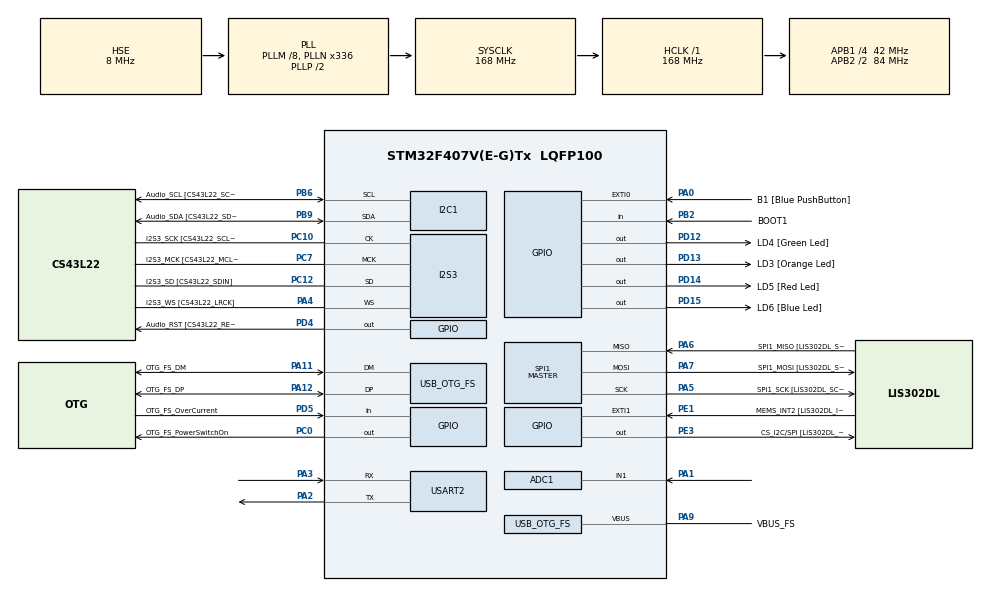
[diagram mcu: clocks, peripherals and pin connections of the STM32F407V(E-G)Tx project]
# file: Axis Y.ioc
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ADC1.Channel-0\#ChannelRegularConversion=ADC_CHANNEL_1
ADC1.NbrOfConversionFlag=1
ADC1.Rank-0\#ChannelRegularConversion=1
ADC1.SamplingTime-0\#ChannelRegularConversion=ADC_SAMPLETIME_3CYCLES
ADC1.master=1
I2S3.AudioFreq-Half_Duplex_Master=I2S_AUDIOFREQ_96K
I2S3.ErrorAudioFreq=-2.34 %
I2S3.ErrorAudioFreq-Half_Duplex_Master=0.8 %
I2S3.FullDuplexMode=I2S_FULLDUPLEXMODE_DISABLE
I2S3.Instance=SPI$Index
I2S3.RealAudioFreq=93.75 KHz
I2S3.RealAudioFreq-Half_Duplex_Master=96.774 KHz
I2S3.VirtualMode=I2S_MODE_MASTER
Mcu.Family=STM32F4
Mcu.Name=STM32F407V(E-G)Tx
Mcu.Package=LQFP100
NVIC.OTG_FS_IRQn=true\:0\:0\:false\:false\:true\:true\:true\:true
NVIC.PriorityGroup=NVIC_PRIORITYGROUP_0
PA0-WKUP.GPIO_Label=B1 [Blue PushButton]
PA0-WKUP.GPIO_ModeDefaultEXTI=GPIO_MODE_EVT_RISING
PA0-WKUP.GPIO_PuPd=GPIO_NOPULL
PA0-WKUP.Signal=GPXTI0
PA1.Signal=ADCx_IN1
PA10.GPIO_Label=OTG_FS_ID
PA10.GPIO_Mode=GPIO_MODE_AF_PP
PA10.GPIO_PuPd=GPIO_NOPULL
PA10.GPIO_Speed=GPIO_SPEED_FREQ_LOW
PA10.Signal=USB_OTG_FS_ID
PA11.GPIO_Label=OTG_FS_DM
PA11.GPIO_Mode=GPIO_MODE_AF_PP
PA11.GPIO_PuPd=GPIO_NOPULL
PA11.GPIO_Speed=GPIO_SPEED_FREQ_LOW
PA11.Mode=Host_Only
PA11.Signal=USB_OTG_FS_DM
PA12.GPIO_Label=OTG_FS_DP
PA12.GPIO_Mode=GPIO_MODE_AF_PP
PA12.GPIO_PuPd=GPIO_NOPULL
PA12.GPIO_Speed=GPIO_SPEED_FREQ_LOW
PA12.Mode=Host_Only
PA12.Signal=USB_OTG_FS_DP
PA13.GPIO_Label=SWDIO
PA13.Mode=Serial_Wire
PA13.Signal=SYS_JTMS-SWDIO
PA14.GPIO_Label=SWCLK
PA14.Mode=Serial_Wire
PA14.Signal=SYS_JTCK-SWCLK
PA2.Mode=Asynchronous
PA2.Signal=USART2_TX
PA3.Mode=Asynchronous
PA3.Signal=USART2_RX
PA4.GPIO_Label=I2S3_WS [CS43L22_LRCK]
PA4.GPIO_Mode=GPIO_MODE_AF_PP
PA4.GPIO_PuPd=GPIO_NOPULL
PA4.GPIO_Speed=GPIO_SPEED_FREQ_LOW
PA4.Mode=Half_Duplex_Master
PA4.Signal=I2S3_WS
PA5.GPIO_Label=SPI1_SCK [LIS302DL_SCL/SPC]
PA5.GPIO_Mode=GPIO_MODE_AF_PP
PA5.GPIO_PuPd=GPIO_NOPULL
PA5.GPIO_Speed=GPIO_SPEED_FREQ_LOW
PA5.Mode=Full_Duplex_Master
PA5.Signal=SPI1_SCK
PA6.GPIO_Label=SPI1_MISO [LIS302DL_SDO]
PA6.GPIO_Mode=GPIO_MODE_AF_PP
PA6.GPIO_PuPd=GPIO_NOPULL
PA6.GPIO_Speed=GPIO_SPEED_FREQ_LOW
PA6.Mode=Full_Duplex_Master
PA6.Signal=SPI1_MISO
PA7.GPIO_Label=SPI1_MOSI [LIS302DL_SDA/SDI/SDO]
PA7.GPIO_Mode=GPIO_MODE_AF_PP
PA7.GPIO_PuPd=GPIO_NOPULL
PA7.GPIO_Speed=GPIO_SPEED_FREQ_LOW
PA7.Mode=Full_Duplex_Master
PA7.Signal=SPI1_MOSI
PA9.GPIO_Label=VBUS_FS
PA9.GPIO_Mode=GPIO_MODE_INPUT
PA9.GPIO_PuPd=GPIO_NOPULL
PA9.Mode=Activate_VBUS
PA9.Signal=USB_OTG_FS_VBUS
PB10.GPIO_Label=CLK_IN [MP45DT02_CLK]
PB10.GPIO_Mode=GPIO_MODE_AF_PP
PB10.GPIO_PuPd=GPIO_NOPULL
PB10.GPIO_Speed=GPIO_SPEED_FREQ_LOW
PB10.Signal=I2S2_CK
PB2.GPIO_Label=BOOT1
PB2.GPIO_Mode=GPIO_MODE_INPUT
PB2.GPIO_PuPd=GPIO_NOPULL
PB2.Signal=GPIO_Input
PB3.GPIO_Label=SWO
PB3.Signal=SYS_JTDO-SWO
PB6.GPIO_Label=Audio_SCL [CS43L22_SCL]
PB6.GPIO_Mode=GPIO_MODE_AF_OD
PB6.GPIO_Pu=GPIO_PULLUP
PB6.GPIO_PuPd=GPIO_NOPULL
PB6.GPIO_Speed=GPIO_SPEED_FREQ_LOW
PB6.Mode=I2C
PB6.Signal=I2C1_SCL
PB9.GPIO_Label=Audio_SDA [CS43L22_SDA]
PB9.GPIO_Mode=GPIO_MODE_AF_OD
PB9.GPIO_Pu=GPIO_PULLUP
PB9.GPIO_PuPd=GPIO_NOPULL
PB9.GPIO_Speed=GPIO_SPEED_FREQ_LOW
PB9.Mode=I2C
PB9.Signal=I2C1_SDA
PC0.GPIO_Label=OTG_FS_PowerSwitchOn
PC0.GPIO_PuPd=GPIO_NOPULL
PC0.GPIO_Speed=GPIO_SPEED_FREQ_LOW
PC0.PinState=GPIO_PIN_SET
PC0.Signal=GPIO_Output
PC10.GPIO_Label=I2S3_SCK [CS43L22_SCLK]
PC10.GPIO_Mode=GPIO_MODE_AF_PP
PC10.GPIO_PuPd=GPIO_NOPULL
PC10.GPIO_Speed=GPIO_SPEED_FREQ_LOW
PC10.Mode=Half_Duplex_Master
PC10.Signal=I2S3_CK
PC12.GPIO_Label=I2S3_SD [CS43L22_SDIN]
PC12.GPIO_Mode=GPIO_MODE_AF_PP
PC12.GPIO_PuPd=GPIO_NOPULL
PC12.GPIO_Speed=GPIO_SPEED_FREQ_LOW
PC12.Mode=Half_Duplex_Master
PC12.Signal=I2S3_SD
PC14-OSC32_IN.GPIO_Label=PC14-OSC32_IN
PC14-OSC32_IN.Mode=LSE-External-Oscillator
PC14-OSC32_IN.Signal=RCC_OSC32_IN
PC15-OSC32_OUT.GPIO_Label=PC15-OSC32_OUT
PC15-OSC32_OUT.Mode=LSE-External-Oscillator
PC15-OSC32_OUT.Signal=RCC_OSC32_OUT
PC3.GPIO_Label=PDM_OUT [MP45DT02_DOUT]
PC3.GPIO_Mode=GPIO_MODE_AF_PP
PC3.GPIO_PuPd=GPIO_NOPULL
PC3.GPIO_Speed=GPIO_SPEED_FREQ_LOW
PC3.Signal=I2S2_SD
PC7.GPIO_Label=I2S3_MCK [CS43L22_MCLK]
PC7.GPIO_Mode=GPIO_MODE_AF_PP
PC7.GPIO_PuPd=GPIO_NOPULL
PC7.GPIO_Speed=GPIO_SPEED_FREQ_LOW
PC7.Mode=Master_Clock_Activated
PC7.Signal=I2S3_MCK
PD12.GPIO_Label=LD4 [Green Led]
PD12.GPIO_PuPd=GPIO_NOPULL
PD12.GPIO_Speed=GPIO_SPEED_FREQ_LOW
PD12.Signal=GPIO_Output
PD13.GPIO_Label=LD3 [Orange Led]
PD13.GPIO_PuPd=GPIO_NOPULL
PD13.GPIO_Speed=GPIO_SPEED_FREQ_LOW
PD13.Signal=GPIO_Output
PD14.GPIO_Label=LD5 [Red Led]
PD14.GPIO_PuPd=GPIO_NOPULL
PD14.GPIO_Speed=GPIO_SPEED_FREQ_LOW
PD14.Signal=GPIO_Output
PD15.GPIO_Label=LD6 [Blue Led]
PD15.GPIO_PuPd=GPIO_NOPULL
PD15.GPIO_Speed=GPIO_SPEED_FREQ_LOW
PD15.Signal=GPIO_Output
PD4.GPIO_Label=Audio_RST [CS43L22_RESET]
PD4.GPIO_PuPd=GPIO_NOPULL
PD4.GPIO_Speed=GPIO_SPEED_FREQ_LOW
PD4.Signal=GPIO_Output
PD5.GPIO_Label=OTG_FS_OverCurrent
PD5.GPIO_Mode=GPIO_MODE_INPUT
PD5.GPIO_PuPd=GPIO_NOPULL
PD5.Signal=GPIO_Input
PE1.GPIO_Label=MEMS_INT2 [LIS302DL_INT2]
PE1.GPIO_ModeDefaultEXTI=GPIO_MODE_EVT_RISING
PE1.GPIO_PuPd=GPIO_NOPULL
PE1.Signal=GPXTI1
PE3.GPIO_Label=CS_I2C/SPI [LIS302DL_CS_I2C/SPI]
PE3.GPIO_PuPd=GPIO_NOPULL
PE3.GPIO_Speed=GPIO_SPEED_FREQ_LOW
PE3.Signal=GPIO_Output
PH0-OSC_IN.GPIO_Label=PH0-OSC_IN
PH0-OSC_IN.Mode=HSE-External-Oscillator
PH0-OSC_IN.Signal=RCC_OSC_IN
PH1-OSC_OUT.GPIO_Label=PH1-OSC_OUT
PH1-OSC_OUT.Mode=HSE-External-Oscillator
PH1-OSC_OUT.Signal=RCC_OSC_OUT
ProjectManager.HeapSize=0x200
ProjectManager.StackSize=0x400
ProjectManager.TargetToolchain=STM32CubeIDE
RCC.48MHZClocksFreq_Value=48000000
RCC.AHBFreq_Value=168000000
RCC.APB1CLKDivider=RCC_HCLK_DIV4
RCC.APB1Freq_Value=42000000
RCC.APB1TimFreq_Value=84000000
RCC.APB2CLKDivider=RCC_HCLK_DIV2
RCC.APB2Freq_Value=84000000
RCC.APB2TimFreq_Value=168000000
RCC.CortexFreq_Value=168000000
RCC.HCLKFreq_Value=168000000
RCC.HSE_VALUE=8000000
RCC.HSI_VALUE=16000000
RCC.PLLM=8
RCC.PLLN=336
RCC.PLLQ=7
RCC.SYSCLKFreq_VALUE=168000000
RCC.SYSCLKSource=RCC_SYSCLKSOURCE_PLLCLK
RCC.VCOOutputFreq_Value=336000000
SH.ADCx_IN1.0=ADC1_IN1,IN1
SPI1.BaudRatePrescaler-Full_Duplex_Master=SPI_BAUDRATEPRESCALER_2
SPI1.CalculateBaudRate-Full_Duplex_Master=42.0 MBits/s
SPI1.Direction=SPI_DIRECTION_2LINES
SPI1.Mode=SPI_MODE_MASTER
SPI1.Mode-Full_Duplex_Master=SPI_MODE_MASTER
SPI1.VirtualType=VM_MASTER
USART2.VirtualMode=VM_ASYNC
USB_HOST.BSP.number=1
USB_HOST.USBH_HandleTypeDef-CDC_FS=hUsbHostFS
USB_HOST.VirtualModeFS=Cdc
USB_HOST0.BSP.STBoard=false
USB_HOST0.BSP.api=Unknown
USB_HOST0.BSP.instance=PC0
USB_HOST0.BSP.ip=GPIO
USB_HOST0.BSP.mode=Output
USB_HOST0.BSP.name=Drive_VBUS_FS
USB_HOST0.BSP.solution=PC0
USB_OTG_FS.VirtualMode=Host_Only
USB_OTG_FS.phy_itface=HCD_PHY_EMBEDDED
VP_USB_HOST_VS_USB_HOST_CDC_FS.Mode=CDC_FS
board=STM32F407G-DISC1

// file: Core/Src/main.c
/* USER CODE BEGIN Header */
/**
  ******************************************************************************
  * @file           : main.c
  * @brief          : Main program body
  ******************************************************************************
  * @attention
  *
  * Copyright (c) 2026 STMicroelectronics.
  * All rights reserved.
  *
  * This software is licensed under terms that can be found in the LICENSE file
  * in the root directory of this software component.
  * If no LICENSE file comes with this software, it is provided AS-IS.
  *
  ******************************************************************************
  */
/* USER CODE END Header */
#include "main.h"
#include "usb_host.h"

/* USER CODE BEGIN Includes */
#include<stdio.h>
#include<string.h>
/* USER CODE END Includes */

ADC_HandleTypeDef hadc1;

I2C_HandleTypeDef hi2c1;

I2S_HandleTypeDef hi2s3;

SPI_HandleTypeDef hspi1;

UART_HandleTypeDef huart2;

/* USER CODE BEGIN PV */
uint16_t joy_y = 0;
uint16_t joy_y_old = 0;
int8_t filter_map = 0;
char buffer[30];
int8_t old_filter_map = 0;
uint8_t end[] = {0xFF,0xFF,0xFF};

/* USER CODE END PV */

void SystemClock_Config(void);
static void MX_GPIO_Init(void);
static void MX_ADC1_Init(void);
static void MX_I2C1_Init(void);
static void MX_I2S3_Init(void);
static void MX_SPI1_Init(void);
static void MX_USART2_UART_Init(void);
void MX_USB_HOST_Process(void);

/* USER CODE BEGIN PFP */
void raw_data();
void no_filter_mapped();
void filter_mapped();
/* USER CODE END PFP */

int main(void)
{

  /* MCU Configuration--------------------------------------------------------*/

  /* Reset of all peripherals, Initializes the Flash interface and the Systick. */
  HAL_Init();

  /* Configure the system clock */
  SystemClock_Config();

  /* Initialize all configured peripherals */
  MX_GPIO_Init();
  MX_ADC1_Init();
  MX_I2C1_Init();
  MX_I2S3_Init();
  MX_SPI1_Init();
  MX_USART2_UART_Init();
  MX_USB_HOST_Init();

  /* Infinite loop */
  while (1)
  {
    MX_USB_HOST_Process();

    /* USER CODE BEGIN 3 */
    HAL_Delay(5);
    raw_data();
    no_filter_mapped();
    filter_mapped();
  }
  /* USER CODE END 3 */
}

void SystemClock_Config(void)
{
  RCC_OscInitTypeDef RCC_OscInitStruct = {0};
  RCC_ClkInitTypeDef RCC_ClkInitStruct = {0};

  /** Configure the main internal regulator output voltage
  */
  __HAL_RCC_PWR_CLK_ENABLE();
  __HAL_PWR_VOLTAGESCALING_CONFIG(PWR_REGULATOR_VOLTAGE_SCALE1);

  /** Initializes the RCC Oscillators according to the specified parameters
  * in the RCC_OscInitTypeDef structure.
  */
  RCC_OscInitStruct.OscillatorType = RCC_OSCILLATORTYPE_HSE;
  RCC_OscInitStruct.HSEState = RCC_HSE_ON;
  RCC_OscInitStruct.PLL.PLLState = RCC_PLL_ON;
  RCC_OscInitStruct.PLL.PLLSource = RCC_PLLSOURCE_HSE;
  RCC_OscInitStruct.PLL.PLLM = 8;
  RCC_OscInitStruct.PLL.PLLN = 336;
  RCC_OscInitStruct.PLL.PLLP = RCC_PLLP_DIV2;
  RCC_OscInitStruct.PLL.PLLQ = 7;
  if (HAL_RCC_OscConfig(&RCC_OscInitStruct) != HAL_OK)
  {
    Error_Handler();
  }

  /** Initializes the CPU, AHB and APB buses clocks
  */
  RCC_ClkInitStruct.ClockType = RCC_CLOCKTYPE_HCLK|RCC_CLOCKTYPE_SYSCLK
                              |RCC_CLOCKTYPE_PCLK1|RCC_CLOCKTYPE_PCLK2;
  RCC_ClkInitStruct.SYSCLKSource = RCC_SYSCLKSOURCE_PLLCLK;
  RCC_ClkInitStruct.AHBCLKDivider = RCC_SYSCLK_DIV1;
  RCC_ClkInitStruct.APB1CLKDivider = RCC_HCLK_DIV4;
  RCC_ClkInitStruct.APB2CLKDivider = RCC_HCLK_DIV2;

  if (HAL_RCC_ClockConfig(&RCC_ClkInitStruct, FLASH_LATENCY_5) != HAL_OK)
  {
    Error_Handler();
  }
}

static void MX_ADC1_Init(void)
{

  ADC_ChannelConfTypeDef sConfig = {0};

  /** Configure the global features of the ADC (Clock, Resolution, Data Alignment and number of conversion)
  */
  hadc1.Instance = ADC1;
  hadc1.Init.ClockPrescaler = ADC_CLOCK_SYNC_PCLK_DIV4;
  hadc1.Init.Resolution = ADC_RESOLUTION_12B;
  hadc1.Init.ScanConvMode = DISABLE;
  hadc1.Init.ContinuousConvMode = DISABLE;
  hadc1.Init.DiscontinuousConvMode = DISABLE;
  hadc1.Init.ExternalTrigConvEdge = ADC_EXTERNALTRIGCONVEDGE_NONE;
  hadc1.Init.ExternalTrigConv = ADC_SOFTWARE_START;
  hadc1.Init.DataAlign = ADC_DATAALIGN_RIGHT;
  hadc1.Init.NbrOfConversion = 1;
  hadc1.Init.DMAContinuousRequests = DISABLE;
  hadc1.Init.EOCSelection = ADC_EOC_SINGLE_CONV;
  if (HAL_ADC_Init(&hadc1) != HAL_OK)
  {
    Error_Handler();
  }

  /** Configure for the selected ADC regular channel its corresponding rank in the sequencer and its sample time.
  */
  sConfig.Channel = ADC_CHANNEL_1;
  sConfig.Rank = 1;
  sConfig.SamplingTime = ADC_SAMPLETIME_3CYCLES;
  if (HAL_ADC_ConfigChannel(&hadc1, &sConfig) != HAL_OK)
  {
    Error_Handler();
  }

}

static void MX_I2C1_Init(void)
{

  hi2c1.Instance = I2C1;
  hi2c1.Init.ClockSpeed = 100000;
  hi2c1.Init.DutyCycle = I2C_DUTYCYCLE_2;
  hi2c1.Init.OwnAddress1 = 0;
  hi2c1.Init.AddressingMode = I2C_ADDRESSINGMODE_7BIT;
  hi2c1.Init.DualAddressMode = I2C_DUALADDRESS_DISABLE;
  hi2c1.Init.OwnAddress2 = 0;
  hi2c1.Init.GeneralCallMode = I2C_GENERALCALL_DISABLE;
  hi2c1.Init.NoStretchMode = I2C_NOSTRETCH_DISABLE;
  if (HAL_I2C_Init(&hi2c1) != HAL_OK)
  {
    Error_Handler();
  }

}

static void MX_I2S3_Init(void)
{

  hi2s3.Instance = SPI3;
  hi2s3.Init.Mode = I2S_MODE_MASTER_TX;
  hi2s3.Init.Standard = I2S_STANDARD_PHILIPS;
  hi2s3.Init.DataFormat = I2S_DATAFORMAT_16B;
  hi2s3.Init.MCLKOutput = I2S_MCLKOUTPUT_ENABLE;
  hi2s3.Init.AudioFreq = I2S_AUDIOFREQ_96K;
  hi2s3.Init.CPOL = I2S_CPOL_LOW;
  hi2s3.Init.ClockSource = I2S_CLOCK_PLL;
  hi2s3.Init.FullDuplexMode = I2S_FULLDUPLEXMODE_DISABLE;
  if (HAL_I2S_Init(&hi2s3) != HAL_OK)
  {
    Error_Handler();
  }

}

static void MX_SPI1_Init(void)
{

  /* SPI1 parameter configuration*/
  hspi1.Instance = SPI1;
  hspi1.Init.Mode = SPI_MODE_MASTER;
  hspi1.Init.Direction = SPI_DIRECTION_2LINES;
  hspi1.Init.DataSize = SPI_DATASIZE_8BIT;
  hspi1.Init.CLKPolarity = SPI_POLARITY_LOW;
  hspi1.Init.CLKPhase = SPI_PHASE_1EDGE;
  hspi1.Init.NSS = SPI_NSS_SOFT;
  hspi1.Init.BaudRatePrescaler = SPI_BAUDRATEPRESCALER_2;
  hspi1.Init.FirstBit = SPI_FIRSTBIT_MSB;
  hspi1.Init.TIMode = SPI_TIMODE_DISABLE;
  hspi1.Init.CRCCalculation = SPI_CRCCALCULATION_DISABLE;
  hspi1.Init.CRCPolynomial = 10;
  if (HAL_SPI_Init(&hspi1) != HAL_OK)
  {
    Error_Handler();
  }

}

static void MX_USART2_UART_Init(void)
{

  huart2.Instance = USART2;
  huart2.Init.BaudRate = 115200;
  huart2.Init.WordLength = UART_WORDLENGTH_8B;
  huart2.Init.StopBits = UART_STOPBITS_1;
  huart2.Init.Parity = UART_PARITY_NONE;
  huart2.Init.Mode = UART_MODE_TX_RX;
  huart2.Init.HwFlowCtl = UART_HWCONTROL_NONE;
  huart2.Init.OverSampling = UART_OVERSAMPLING_16;
  if (HAL_UART_Init(&huart2) != HAL_OK)
  {
    Error_Handler();
  }

}

static void MX_GPIO_Init(void)
{
  GPIO_InitTypeDef GPIO_InitStruct = {0};

  /* GPIO Ports Clock Enable */
  __HAL_RCC_GPIOE_CLK_ENABLE();
  __HAL_RCC_GPIOC_CLK_ENABLE();
  __HAL_RCC_GPIOH_CLK_ENABLE();
  __HAL_RCC_GPIOA_CLK_ENABLE();
  __HAL_RCC_GPIOB_CLK_ENABLE();
  __HAL_RCC_GPIOD_CLK_ENABLE();

  /*Configure GPIO pin Output Level */
  HAL_GPIO_WritePin(CS_I2C_SPI_GPIO_Port, CS_I2C_SPI_Pin, GPIO_PIN_RESET);

  /*Configure GPIO pin Output Level */
  HAL_GPIO_WritePin(OTG_FS_PowerSwitchOn_GPIO_Port, OTG_FS_PowerSwitchOn_Pin, GPIO_PIN_SET);

  /*Configure GPIO pin Output Level */
  HAL_GPIO_WritePin(GPIOD, LD4_Pin|LD3_Pin|LD5_Pin|LD6_Pin
                          |Audio_RST_Pin, GPIO_PIN_RESET);

  /*Configure GPIO pin : CS_I2C_SPI_Pin */
  GPIO_InitStruct.Pin = CS_I2C_SPI_Pin;
  GPIO_InitStruct.Mode = GPIO_MODE_OUTPUT_PP;
  GPIO_InitStruct.Pull = GPIO_NOPULL;
  GPIO_InitStruct.Speed = GPIO_SPEED_FREQ_LOW;
  HAL_GPIO_Init(CS_I2C_SPI_GPIO_Port, &GPIO_InitStruct);

  /*Configure GPIO pin : OTG_FS_PowerSwitchOn_Pin */
  GPIO_InitStruct.Pin = OTG_FS_PowerSwitchOn_Pin;
  GPIO_InitStruct.Mode = GPIO_MODE_OUTPUT_PP;
  GPIO_InitStruct.Pull = GPIO_NOPULL;
  GPIO_InitStruct.Speed = GPIO_SPEED_FREQ_LOW;
  HAL_GPIO_Init(OTG_FS_PowerSwitchOn_GPIO_Port, &GPIO_InitStruct);

  /*Configure GPIO pin : PDM_OUT_Pin */
  GPIO_InitStruct.Pin = PDM_OUT_Pin;
  GPIO_InitStruct.Mode = GPIO_MODE_AF_PP;
  GPIO_InitStruct.Pull = GPIO_NOPULL;
  GPIO_InitStruct.Speed = GPIO_SPEED_FREQ_LOW;
  GPIO_InitStruct.Alternate = GPIO_AF5_SPI2;
  HAL_GPIO_Init(PDM_OUT_GPIO_Port, &GPIO_InitStruct);

  /*Configure GPIO pin : B1_Pin */
  GPIO_InitStruct.Pin = B1_Pin;
  GPIO_InitStruct.Mode = GPIO_MODE_EVT_RISING;
  GPIO_InitStruct.Pull = GPIO_NOPULL;
  HAL_GPIO_Init(B1_GPIO_Port, &GPIO_InitStruct);

  /*Configure GPIO pin : BOOT1_Pin */
  GPIO_InitStruct.Pin = BOOT1_Pin;
  GPIO_InitStruct.Mode = GPIO_MODE_INPUT;
  GPIO_InitStruct.Pull = GPIO_NOPULL;
  HAL_GPIO_Init(BOOT1_GPIO_Port, &GPIO_InitStruct);

  /*Configure GPIO pin : CLK_IN_Pin */
  GPIO_InitStruct.Pin = CLK_IN_Pin;
  GPIO_InitStruct.Mode = GPIO_MODE_AF_PP;
  GPIO_InitStruct.Pull = GPIO_NOPULL;
  GPIO_InitStruct.Speed = GPIO_SPEED_FREQ_LOW;
  GPIO_InitStruct.Alternate = GPIO_AF5_SPI2;
  HAL_GPIO_Init(CLK_IN_GPIO_Port, &GPIO_InitStruct);

  /*Configure GPIO pins : LD4_Pin LD3_Pin LD5_Pin LD6_Pin
                           Audio_RST_Pin */
  GPIO_InitStruct.Pin = LD4_Pin|LD3_Pin|LD5_Pin|LD6_Pin
                          |Audio_RST_Pin;
  GPIO_InitStruct.Mode = GPIO_MODE_OUTPUT_PP;
  GPIO_InitStruct.Pull = GPIO_NOPULL;
  GPIO_InitStruct.Speed = GPIO_SPEED_FREQ_LOW;
  HAL_GPIO_Init(GPIOD, &GPIO_InitStruct);

  /*Configure GPIO pin : OTG_FS_OverCurrent_Pin */
  GPIO_InitStruct.Pin = OTG_FS_OverCurrent_Pin;
  GPIO_InitStruct.Mode = GPIO_MODE_INPUT;
  GPIO_InitStruct.Pull = GPIO_NOPULL;
  HAL_GPIO_Init(OTG_FS_OverCurrent_GPIO_Port, &GPIO_InitStruct);

  /*Configure GPIO pin : MEMS_INT2_Pin */
  GPIO_InitStruct.Pin = MEMS_INT2_Pin;
  GPIO_InitStruct.Mode = GPIO_MODE_EVT_RISING;
  GPIO_InitStruct.Pull = GPIO_NOPULL;
  HAL_GPIO_Init(MEMS_INT2_GPIO_Port, &GPIO_InitStruct);

}

/* USER CODE BEGIN 4 */
void raw_data(){
	HAL_ADC_Start(&hadc1);
	HAL_ADC_PollForConversion(&hadc1,100);
	joy_y = HAL_ADC_GetValue(&hadc1);
	sprintf(buffer,"t0.txt=\"%d\"",joy_y);
	HAL_UART_Transmit(&huart2,(uint8_t *)buffer,strlen(buffer),100);
	HAL_UART_Transmit(&huart2,end,3,100);
}
void no_filter_mapped(){
	HAL_ADC_Start(&hadc1);
	HAL_ADC_PollForConversion(&hadc1,100);
	joy_y = HAL_ADC_GetValue(&hadc1);
	//We mapped the raw data between 100 and -100.
	filter_map = ((joy_y * 200) / 4095) -100;
	sprintf(buffer,"t1.txt=\"%d\"",filter_map);
	HAL_UART_Transmit(&huart2,(uint8_t *)buffer,strlen(buffer),100);
	HAL_UART_Transmit(&huart2,end,3,100);
}

void filter_mapped(){
	// =========================================================================
	// 1. READ RAW ADC DATA
	// Start ADC, wait for conversion, and read the 12-bit value (0 - 4095)
	// =========================================================================
	HAL_ADC_Start(&hadc1);
	HAL_ADC_PollForConversion(&hadc1,100);
	joy_y = HAL_ADC_GetValue(&hadc1);
	// =========================================================================
	// 2. LAYER 1: HARDWARE NOISE FILTER (HYSTERESIS)
	// Only process the data if the physical movement is greater than 20 units.
	// This prevents the code from running unnecessarily due to electrical noise.
	// =========================================================================
	if(joy_y  > joy_y_old + 20 || joy_y  <  joy_y_old - 20){
		joy_y_old = joy_y;
		// =====================================================================
		// 3. DEADZONE CONFIGURATION (CENTER RESTING AREA)
		// If the joystick/potentiometer is resting near the center (1900-2200),
		// ignore the tiny offset and force the output speed to exactly 0 (Stop).
		// =====================================================================
		if(joy_y > 1900 && joy_y < 2200){
			filter_map = 0;
		}else{
			// =================================================================
			// 4. MAPPING AND SMOOTHING (EXPONENTIAL CURVE)
			// =================================================================
			int32_t cube_val = 0;
			// First, map the raw 0-4095 value linearly to a [-100 to +100] range.
			filter_map = ((joy_y * 200)  / 4095) - 100;
			// Apply a cubic formula (x^3) to create a curved acceleration profile.
			// This gives high precision (slow movement) near the center, and max
			// speed at the edges. Cubing also preserves the negative/positive sign.
			cube_val = (filter_map * filter_map * filter_map);
			// Divide by 10,000 to normalize the huge cubed value back to [-100, 100].
			filter_map = cube_val / 10000;
		}
		// =====================================================================
		// 5. LAYER 2: OUTPUT UPDATE FILTER & ZERO-BYPASS
		// a) The value just became exactly 0 (Zero-Bypass: crucial for stopping)
		// b) OR the calculated speed has changed by more than 2 units (Tolerance)
		// This prevents screen flickering and UART communication spam.
		// =====================================================================
		if((filter_map == 0 && old_filter_map != 0) || filter_map > old_filter_map + 2 || filter_map < old_filter_map - 2){
			old_filter_map = filter_map;
			sprintf(buffer,"t2.txt=\"%d\"",filter_map);
			HAL_UART_Transmit(&huart2,(uint8_t *)buffer,strlen(buffer),100);
			HAL_UART_Transmit(&huart2,end,3,100);
		}

	}
}

/* USER CODE END 4 */

void Error_Handler(void)
{
  __disable_irq();
  while (1)
  {
  }
}
